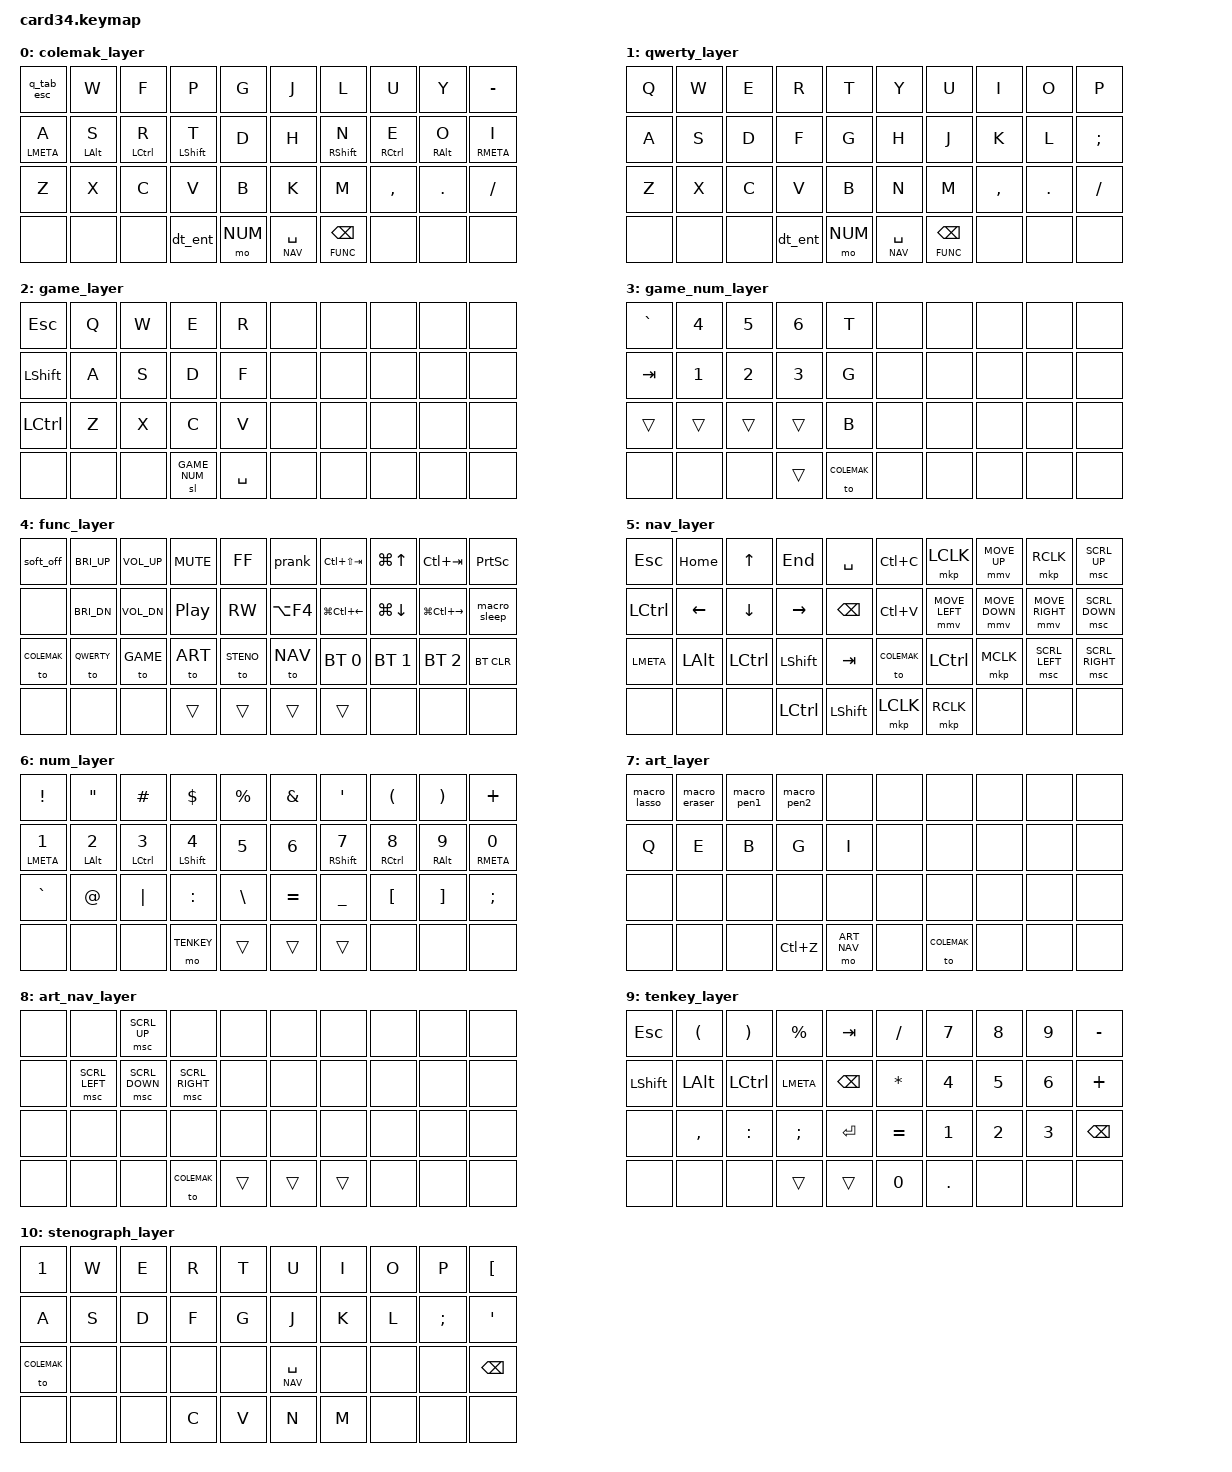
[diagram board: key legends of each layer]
/* Custom Pointer & Scroll Speed Defines (Must be placed before includes) */
#define ZMK_POINTING_DEFAULT_MOVE_VAL 10000
#define ZMK_POINTING_DEFAULT_SCRL_VAL 100

#include <behaviors.dtsi>
#include <dt-bindings/zmk/keys.h>
#include <dt-bindings/zmk/pointing.h>
#include <dt-bindings/zmk/bt.h>


// Clean Layer Index Definitions
#define COLEMAK  0
#define QWERTY   1
#define GAME     2
#define GAME_NUM 3   /* Left-hand weapon/number overlay for gaming */
#define FUNC     4
#define NAV      5
#define NUM      6
#define ART      7   
#define ART_NAV  8   
#define TENKEY   9   /* Right-hand 10-key Numpad activated via NUM + dt_ent */
#define STENO    10  /* for steno typing test*/

/* Mouse & Scroll Acceleration Adjustments */
&msc {
    time-to-max-speed-ms = <100>;
    acceleration-exponent = <1>;
};

&mmv {
    time-to-max-speed-ms = <300>;
    acceleration-exponent = <2>;
};

/ {
    behaviors {
        /* Macro: Windows Sleep Sequence (Win+X -> U -> S) */
        macro_sleep: macro_sleep {
            compatible = "zmk,behavior-macro";
            #binding-cells = <0>;
            wait-ms = <500>;
            tap-ms = <30>;
            bindings = <&kp LG(X) &kp U &kp S>;
        };

        macro_eraser: macro_eraser {
            compatible = "zmk,behavior-macro";
            #binding-cells = <0>;
            wait-ms = <100>;
            tap-ms = <30>;
            bindings = <&kp LA(D) &kp G &kp SPACE>;
        };

        macro_pen1: macro_pen1 {
            compatible = "zmk,behavior-macro";
            #binding-cells = <0>;
            wait-ms = <100>;
            tap-ms = <30>;
            bindings = <&kp LA(D) &kp G &kp RIGHT &kp RIGHT &kp SPACE>;
        };

        macro_pen2: macro_pen2 {
            compatible = "zmk,behavior-macro";
            #binding-cells = <0>;
            wait-ms = <100>;
            tap-ms = <30>;
            bindings = <&kp LA(D) &kp G &kp RIGHT &kp RIGHT &kp RIGHT &kp SPACE>;
        };

        macro_lasso: macro_lasso {
            compatible = "zmk,behavior-macro";
            #binding-cells = <0>;
            wait-ms = <100>;
            tap-ms = <30>;
            bindings = <&kp LA(D) &kp L>;
        };
        prank: windows_update_prank{
            compatible = "zmk,behavior-macro";
            #binding-cells = <0>;
            wait-ms = <1>;
            tap-ms = <1>;
            bindings 
                = <&kp LG(R)>
                , <&macro_wait_time 1000>
                , <&kp C &kp M &kp D &kp SPACE &kp FSLH &kp C &kp SPACE &kp DQT &kp S &kp T &kp A &kp R &kp T &kp SPACE &kp M &kp S &kp E &kp D &kp G &kp E &kp MINUS &kp MINUS &kp K &kp I &kp O &kp S &kp K &kp SPACE &kp H &kp T &kp T &kp P &kp S &kp COLON>
                , <&kp FSLH &kp FSLH &kp F &kp A &kp K &kp E &kp U &kp P &kp D &kp A &kp T &kp E &kp DOT &kp N &kp E &kp T &kp FSLH &kp W &kp I &kp N &kp N1 &kp N0 &kp U &kp E &kp FSLH &kp SPACE &kp MINUS &kp MINUS &kp E &kp D &kp G &kp E &kp MINUS>
                , <&kp K &kp I &kp O &kp S &kp K &kp MINUS &kp T &kp Y &kp P &kp E &kp EQUAL &kp F &kp U &kp L &kp L &kp S &kp C &kp R &kp E &kp E &kp N &kp DQT>
                , <&kp ENTER>;
        };


        /* Fast Home Row Mod (Index Fingers: T, N / N5, N6) */
        hm: home_row_mod {
            compatible = "zmk,behavior-hold-tap";
            #binding-cells = <2>;
            tapping-term-ms = <180>;
            quick-tap-ms = <150>;
            require-prior-idle-ms = <100>;
            flavor = "balanced";
            bindings = <&kp>, <&kp>;
        };

        /* Slow Home Row Mod (Pinky/Ring/Middle: A, S, R, I, O, E) */
        hms: home_row_mod_slow {
            compatible = "zmk,behavior-hold-tap";
            #binding-cells = <2>;
            tapping-term-ms = <280>;
            quick-tap-ms = <150>;
            require-prior-idle-ms = <150>;
            flavor = "balanced";
            bindings = <&kp>, <&kp>;
        };

        /* Tap-Dance: Single = Q, Double = TAB, Triple = ESC */
        q_tab_esc: q_tab_esc_tapdance {
            compatible = "zmk,behavior-tap-dance";
            #binding-cells = <0>;
            tapping-term-ms = <220>;
            bindings = <&kp Q>, <&kp TAB>, <&kp ESC>;
        };

        /* Tap-Dance: Single = Shift, Double = Enter */
        dt_ent: double_tap_enter {
            compatible = "zmk,behavior-tap-dance";
            #binding-cells = <0>;
            tapping-term-ms = <200>;
            bindings = <&kp LSHFT>, <&kp ENTER>;
        };
    };

    keymap {
        compatible = "zmk,keymap";

        /* Layer 0: Colemak-DH Base Layer */
        colemak_layer {
            bindings = <
                &q_tab_esc     &kp W          &kp F          &kp P          &kp G             &kp J          &kp L          &kp U          &kp Y          &kp MINUS
                &hms LMETA A   &hms LALT S    &hms LCTRL R   &hm LSHFT T    &kp D             &kp H          &hm RSHFT N    &hms RCTRL E   &hms RALT O    &hms RMETA I
                &kp Z          &kp X          &kp C          &kp V          &kp B             &kp K          &kp M          &kp COMMA      &kp DOT        &kp FSLH
                &none          &none          &none          &dt_ent        &mo NUM           &lt NAV SPACE  &lt FUNC BSPC  &none          &none          &none
            >;
        };

        /* Layer 1: QWERTY Layer */
        qwerty_layer {
            bindings = <
                &kp Q          &kp W          &kp E          &kp R          &kp T             &kp Y          &kp U          &kp I          &kp O          &kp P
                &kp A          &kp S          &kp D          &kp F          &kp G             &kp H          &kp J          &kp K          &kp L          &kp SEMI
                &kp Z          &kp X          &kp C          &kp V          &kp B             &kp N          &kp M          &kp COMMA      &kp DOT        &kp FSLH
                &none          &none          &none          &dt_ent        &mo NUM           &lt NAV SPACE  &lt FUNC BSPC  &none          &none          &none
            >;
        };

        /* Layer 2: Base Game Layer */
        game_layer {
            bindings = <
                &kp ESC        &kp Q          &kp W          &kp E          &kp R             &none          &none          &none          &none          &none
                &kp LSHIFT     &kp A          &kp S          &kp D          &kp F             &none          &none          &none          &none          &none
                &kp LCTRL      &kp Z          &kp X          &kp C          &kp V             &none          &none          &none          &none          &none
                &none          &none          &none          &sl GAME_NUM   &kp SPACE         &none          &none          &none          &none          &none
            >;
        };

        /* Layer 3: Game Quick-Select Overlay */
        game_num_layer {
            bindings = <
                &kp GRAVE      &kp N4         &kp N5         &kp N6         &kp T             &none          &none          &none          &none          &none
                &kp TAB        &kp N1         &kp N2         &kp N3         &kp G             &none          &none          &none          &none          &none
                &trans         &trans         &trans         &trans         &kp B             &none          &none          &none          &none          &none
                &none          &none          &none          &trans         &to COLEMAK       &none          &none          &none          &none          &none
            >;
        };

        /* Layer 4: Function & System Layer */
        func_layer {
            bindings = <
                &soft_off      &kp C_BRI_UP   &kp C_VOL_UP   &kp C_MUTE     &kp C_FF          &prank         &kp LC(LS(TAB)) &kp LG(UP)    &kp LC(TAB)    &kp PSCRN
                &none          &kp C_BRI_DN   &kp C_VOL_DN   &kp C_PP       &kp C_RW          &kp LA(F4)     &kp LG(LC(LEFT)) &kp LG(DOWN) &kp LG(LC(RIGHT)) &macro_sleep
                &to COLEMAK    &to QWERTY     &to GAME       &to ART        &to STENO         &to NAV        &bt BT_SEL 0   &bt BT_SEL 1   &bt BT_SEL 2   &bt BT_CLR
                &none          &none          &none          &trans         &trans            &trans         &trans         &none          &none          &none
            >;
        };

        /* Layer 5: Navigation & Mouse Layer */
        nav_layer {
            bindings = <
                &kp ESC        &kp HOME       &kp UP         &kp END        &kp SPACE         &kp LC(C)      &mkp LCLK      &mmv MOVE_UP   &mkp RCLK      &msc SCRL_UP
                &kp LCTRL      &kp LEFT       &kp DOWN       &kp RIGHT      &kp BSPC          &kp LC(V)      &mmv MOVE_LEFT &mmv MOVE_DOWN &mmv MOVE_RIGHT &msc SCRL_DOWN
                &kp LMETA      &kp LALT       &kp LCTRL      &kp LSHFT      &kp TAB           &to COLEMAK    &kp LCTRL      &mkp MCLK      &msc SCRL_LEFT &msc SCRL_RIGHT
                &none          &none          &none          &kp LCTRL      &kp LSHFT         &mkp LCLK      &mkp RCLK      &none          &none          &none
            >;
        };

        /* Layer 6: Number Layer */
        num_layer {
            bindings = <
                &kp EXCL       &kp DQT        &kp HASH       &kp DLLR       &kp PRCNT         &kp AMPS       &kp SQT        &kp LPAR       &kp RPAR       &kp PLUS
                &hms LMETA N1  &hms LALT N2   &hms LCTRL N3  &hm LSHFT N4   &kp N5            &kp N6         &hm RSHFT N7   &hms RCTRL N8  &hms RALT N9   &hms RMETA N0
                &kp GRAVE      &kp AT         &kp PIPE       &kp COLON      &kp BSLH          &kp EQUAL      &kp UNDER      &kp LBKT       &kp RBKT       &kp SEMI
                &none          &none          &none          &mo TENKEY     &trans            &trans         &trans         &none          &none          &none
            >;
        };

        /* Layer 7: Reserved Art / Macropad Layer */
        art_layer {
            bindings = <
                &macro_lasso   &macro_eraser  &macro_pen1    &macro_pen2    &none             &none          &none          &none          &none          &none
                &kp Q          &kp E          &kp B          &kp G          &kp I             &none          &none          &none          &none          &none
                &none          &none          &none          &none          &none             &none          &none          &none          &none          &none
                &none          &none          &none          &kp LC(Z)      &mo ART_NAV       &none          &to COLEMAK    &none          &none          &none
            >;
        };

        /* Layer 8: Blank Expansion Layer */
        art_nav_layer {
            bindings = <
                &none          &none          &msc SCRL_UP   &none          &none             &none          &none          &none          &none          &none
                &none          &msc SCRL_LEFT &msc SCRL_DOWN &msc SCRL_RIGHT &none            &none          &none          &none          &none          &none
                &none          &none          &none          &none          &none             &none          &none          &none          &none          &none
                &none          &none          &none          &to COLEMAK    &trans            &trans         &trans         &none          &none          &none
            >;
        };

        /* Layer 9: Right-Hand 10-Key Numpad (Activated via NUM + dt_ent) */
        tenkey_layer {
            bindings = <
                &kp ESC        &kp LPAR       &kp RPAR       &kp PRCNT      &kp TAB           &kp FSLH       &kp N7         &kp N8         &kp N9         &kp MINUS
                &kp LSHFT      &kp LALT       &kp LCTRL      &kp LMETA      &kp BSPC          &kp ASTRK      &kp N4         &kp N5         &kp N6         &kp PLUS
                &none          &kp COMMA      &kp COLON      &kp SEMI       &kp ENTER         &kp EQUAL      &kp N1         &kp N2         &kp N3         &kp BSPC
                &none          &none          &none          &trans         &trans            &kp N0         &kp DOT        &none          &none          &none
            >;
        };

        /* Layer 10: Stenograph Layer */
        stenograph_layer {
            bindings = <
                &kp N1         &kp W          &kp E          &kp R          &kp T             &kp U          &kp I          &kp O          &kp P          &kp LBKT
                &kp A          &kp S          &kp D          &kp F          &kp G             &kp J          &kp K          &kp L          &kp SEMI       &kp SQT
                &to COLEMAK    &none          &none          &none          &none             &lt NAV SPACE  &none          &none          &none          &kp BKSP
                &none          &none          &none          &kp C          &kp V             &kp N          &kp M          &none          &none          &none
            >;
        };
    };
};
